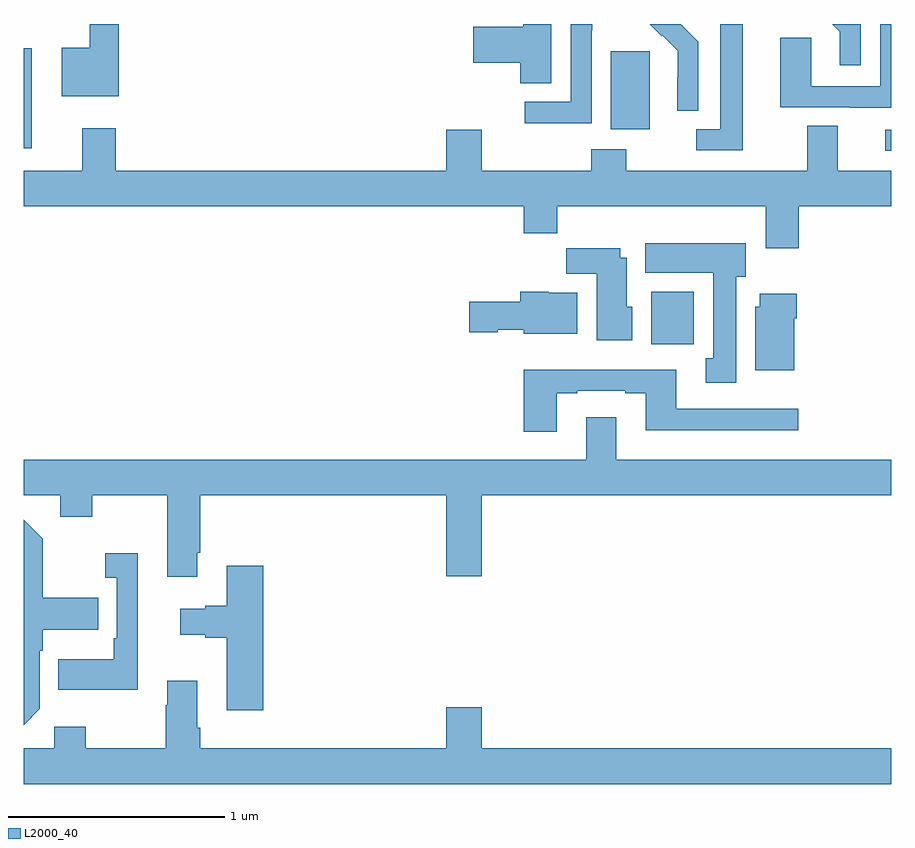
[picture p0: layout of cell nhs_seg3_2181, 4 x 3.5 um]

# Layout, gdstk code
import gdstk
lib = gdstk.Library(unit=1e-6, precision=1e-09)
def R(c, l, rs):  # rectangles x0, y0, x1, y1
    for r in rs: c.add(gdstk.rectangle(r[:2], r[2:], *l))
def P(c, l, *ps):  # polygons
    for p in ps: c.add(gdstk.Polygon(p, *l))
L2000_40 = (2000, 40)

nhs_seg3_2181 = lib.new_cell('nhs_seg3_2181')
R(nhs_seg3_2181, L2000_40, [(225.893,722.924,226.09,723.166), (226.971,723.816,227,723.912), (223,723.828,223.036,724.288), (225.707,723.914,225.886,724.275)])
P(nhs_seg3_2181, L2000_40, [(223.439,724.4),(223.304,724.4),(223.304,724.291),(223.175,724.291),(223.175,724.067),(223.439,724.067)],
  [(225.618,724.372),(225.621,724.372),(225.621,724.4),(225.522,724.4),(225.522,724.041),(225.309,724.041),(225.309,723.943),(225.618,723.943)],
  [(227,724.4),(226.95,724.4),(226.95,724.113),(226.632,724.113),(226.632,724.337),(226.487,724.337),(226.487,724.017),(226.811,724.017),(226.811,724.013),(227,724.013)],
  [(226.86,724.4),(226.728,724.4),(226.763,724.365),(226.763,724.209),(226.86,724.209)],
  [(226.315,724.4),(226.211,724.4),(226.211,723.915),(226.101,723.915),(226.101,723.819),(226.315,723.819)],
  [(226.11,724.318),(226.037,724.391),(226.038,724.392),(226.03,724.4),(225.886,724.4),(225.942,724.344),(225.945,724.347),(226.016,724.277),(226.016,724.154),(226.014,724.154),(226.014,724),(226.11,724)],
  [(225.433,724.4),(225.302,724.4),(225.302,724.387),(225.072,724.387),(225.072,724.222),(225.29,724.222),(225.29,724.126),(225.433,724.126)],
  [(226.574,723.56),(227,723.56),(227,723.724),(226.753,723.724),(226.753,723.932),(226.613,723.932),(226.613,723.724),(225.777,723.724),(225.777,723.823),(225.617,723.823),(225.617,723.724),(225.112,723.724),(225.112,723.913),(224.948,723.913),(224.948,723.724),(223.424,723.724),(223.424,723.919),(223.271,723.919),(223.271,723.724),(223,723.724),(223,723.56),(225.305,723.56),(225.305,723.436),(225.461,723.436),(225.461,723.56),(226.421,723.56),(226.421,723.366),(226.574,723.366)],
  [(226.285,723.234),(226.33,723.234),(226.33,723.388),(225.866,723.388),(225.866,723.254),(226.178,723.254),(226.178,722.858),(226.145,722.858),(226.145,722.745),(226.285,722.745)],
  [(225.805,723.096),(225.781,723.096),(225.781,723.322),(225.751,723.322),(225.751,723.367),(225.502,723.367),(225.502,723.248),(225.641,723.248),(225.641,722.942),(225.805,722.942)],
  [(225.553,723.16),(225.42,723.16),(225.42,723.166),(225.29,723.166),(225.29,723.12),(225.054,723.12),(225.054,722.978),(225.186,722.978),(225.186,722.99),(225.306,722.99),(225.306,722.972),(225.553,722.972)],
  [(226.552,723.044),(226.565,723.044),(226.565,723.157),(226.394,723.157),(226.394,723.096),(226.373,723.096),(226.373,722.804),(226.552,722.804)],
  [(225.457,722.697),(225.553,722.697),(225.553,722.709),(225.773,722.709),(225.773,722.697),(225.869,722.697),(225.869,722.528),(226.57,722.528),(226.57,722.625),(226.009,722.625),(226.009,722.806),(225.305,722.806),(225.305,722.52),(225.457,722.52)],
  [(223,722.228),(223.169,722.228),(223.169,722.129),(223.317,722.129),(223.317,722.228),(223.661,722.228),(223.661,721.851),(223.801,721.851),(223.801,721.963),(223.814,721.963),(223.814,722.228),(224.948,722.228),(224.948,721.854),(225.112,721.854),(225.112,722.228),(227,722.228),(227,722.392),(225.733,722.392),(225.733,722.587),(225.593,722.587),(225.593,722.392),(223,722.392)],
  [(223.074,721.242),(223.074,721.511),(223.087,721.511),(223.087,721.607),(223.343,721.607),(223.343,721.755),(223.087,721.755),(223.087,722.027),(223,722.114),(223,721.168)],
  [(223.526,721.96),(223.377,721.96),(223.377,721.847),(223.428,721.847),(223.428,721.567),(223.416,721.567),(223.416,721.471),(223.159,721.471),(223.159,721.331),(223.526,721.331)],
  [(224.105,721.903),(223.937,721.903),(223.937,721.718),(223.838,721.718),(223.838,721.705),(223.722,721.705),(223.722,721.583),(223.838,721.583),(223.838,721.571),(223.937,721.571),(223.937,721.236),(224.105,721.236)],
  [(227,721.06),(225.112,721.06),(225.112,721.249),(224.948,721.249),(224.948,721.06),(223.814,721.06),(223.814,721.156),(223.801,721.156),(223.801,721.372),(223.661,721.372),(223.661,721.259),(223.654,721.259),(223.654,721.06),(223.287,721.06),(223.287,721.159),(223.14,721.159),(223.14,721.06),(223,721.06),(223,720.896),(227,720.896)])

lib.write_gds('nhs_seg3_2181.gds')
